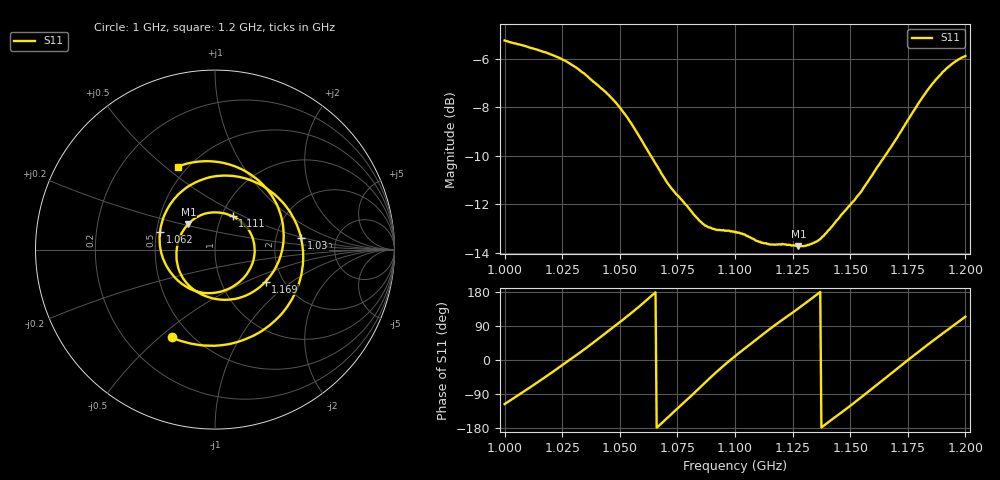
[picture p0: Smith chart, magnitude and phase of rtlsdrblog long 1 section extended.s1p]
! NanoVNA-App
! Date: 2026-05-22 22:14:04
! Start: 1GHz Stop: 1.2GHz Points: 401
! S-Parameter data: F S11
# Hz S RI R 50
!  Frequency  S11_Real  S11_Imag
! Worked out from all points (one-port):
!   401 points, 1 GHz to 1.2 GHz, reference 50 ohm
!   lowest |S11| = -13.7 dB at 1.127 GHz (marker M1), VSWR 1.52, Z = 35.7 + j10.6 ohm
!   |S11| at or under -10 dB: 1.063 GHz to 1.165 GHz (101.7 MHz wide, 9.13 % of centre)
!   S11 on the Smith chart (normalised r, x): 1 GHz: 0.39, -0.55; 1.03 GHz: 2.79, +0.46; 1.062 GHz: 0.52, +0.11; 1.111 GHz: 1.13, +0.44; 1.169 GHz: 1.63, -0.65; 1.2 GHz: 0.44, +0.55
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1e9  -0.2421 -0.4894
1.006e9  -0.0234 -0.5358
1.012e9  0.1949 -0.4888
1.019e9  0.3975 -0.325
1.025e9  0.4844 -0.1199
1.03e9  0.4793 0.0633
1.0405e9  0.2514 0.3629
1.045e9  0.1 0.4103
1.05e9  -0.0675 0.3914
1.0565e9  -0.2376 0.2687
1.0625e9  -0.3069 0.0967
1.068e9  -0.2843 -0.0612
1.075e9  -0.1614 -0.2067
1.085e9  0.0731 -0.2197
1.0925e9  0.195 -0.1067
1.1e9  0.2166 0.0385
1.111e9  0.0975 0.1862
1.125e9  -0.1186 0.1692
1.1275e9  -0.1485 0.1426
1.1395e9  -0.2147 -0.0425
1.15e9  -0.1293 -0.2144
1.16e9  0.0842 -0.2782
1.1685e9  0.2825 -0.1778
1.175e9  0.3745 -0.00265
1.182e9  0.3544 0.2273
1.1895e9  0.1833 0.4282
1.1945e9  0.00332 0.4899
1.2e9  -0.2087 0.4624
